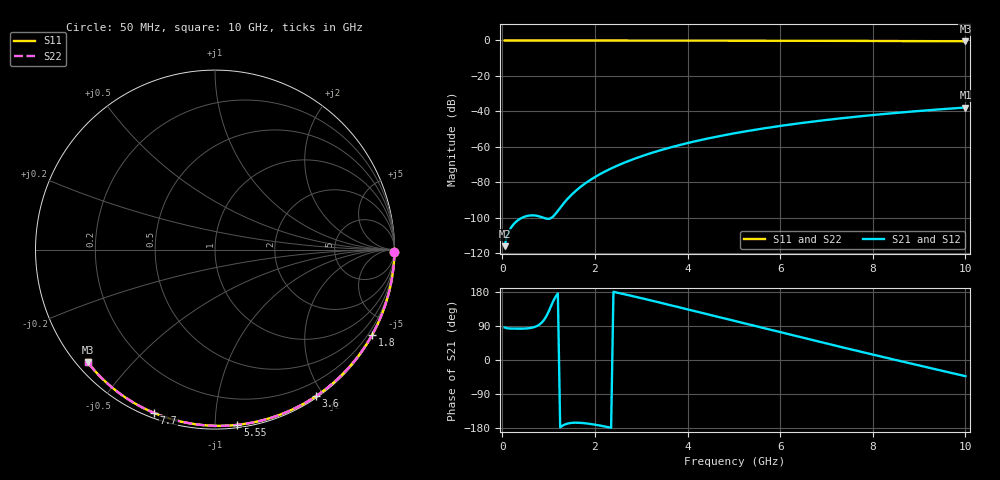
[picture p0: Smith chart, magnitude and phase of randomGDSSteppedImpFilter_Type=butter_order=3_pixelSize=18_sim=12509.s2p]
! freq	dB(S11)	phase(S11)	dB(S12)	phase(S12)
!  dB(S21)	phase(S21)	dB(S22)	phase(S22)
!S-par simulation data
#  GHz  S  DB  R 50
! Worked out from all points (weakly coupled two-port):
!   200 points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, 50 MHz to 10 GHz, reference 50 ohm
!   highest |S21| = -37.86 dB at 10 GHz (marker M1); lowest = -116.1 dB at 50 MHz (marker M2)
!   lowest |S11| = -0.5 dB at 10 GHz (marker M3), VSWR 36.97, Z = 1.55 - j19 ohm
!   |S11| at or under -10 dB: nowhere
!   |S22| runs from -0.5 to 0.0 dB; largest |S21 - S12| = 0
!   S11 on the Smith chart (normalised r, x): 50 MHz: open; 1.8 GHz: 0.03, -3.96; 3.6 GHz: 0.02, -1.90; 5.55 GHz: 0.02, -1.14; 7.7 GHz: 0.02, -0.69; 10 GHz: 0.03, -0.38
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0.05  -0.00 -0.8  -116.14 85.9  -116.14 85.9  -0.00 -0.8
0.45  -0.01 -7.2  -99.81 82.8  -99.81 82.8  -0.01 -7.2
0.9  -0.02 -14.3  -100.22 105.6  -100.22 105.6  -0.02 -14.3
1.75  -0.04 -27.6  -81.46 -166.5  -81.46 -166.5  -0.04 -27.6
1.8  -0.04 -28.4  -80.52 -167.1  -80.52 -167.1  -0.04 -28.4
1.85  -0.04 -29.1  -79.62 -167.9  -79.62 -167.9  -0.04 -29.1
2.05  -0.04 -32.2  -76.36 -171.7  -76.36 -171.7  -0.04 -32.2
2.25  -0.05 -35.3  -73.55 -176.3  -73.55 -176.3  -0.05 -35.3
2.55  -0.05 -39.8  -69.92 175.9  -69.92 175.9  -0.05 -39.8
2.95  -0.06 -45.8  -65.88 164.7  -65.88 164.7  -0.06 -45.8
3.4  -0.07 -52.5  -62.10 151.6  -62.10 151.6  -0.07 -52.5
3.6  -0.07 -55.4  -60.62 145.6  -60.62 145.6  -0.07 -55.4
3.9  -0.08 -59.8  -58.57 136.6  -58.57 136.6  -0.08 -59.8
4.3  -0.09 -65.5  -56.13 124.5  -56.13 124.5  -0.09 -65.5
5.05  -0.12 -75.9  -52.24 101.8  -52.24 101.8  -0.12 -75.9
5.55  -0.14 -82.7  -50.04 86.8  -50.04 86.8  -0.14 -82.7
6.1  -0.16 -90.0  -47.89 70.3  -47.89 70.3  -0.16 -90.0
6.7  -0.19 -97.8  -45.82 52.4  -45.82 52.4  -0.19 -97.8
7.7  -0.25 -110.4  -42.89 23.0  -42.89 23.0  -0.25 -110.4
8.35  -0.30 -118.4  -41.26 4.2  -41.26 4.2  -0.30 -118.4
9.2  -0.38 -128.7  -39.39 -20.1  -39.39 -20.1  -0.38 -128.7
10  -0.47 -138.4  -37.86 -42.7  -37.86 -42.7  -0.47 -138.4
